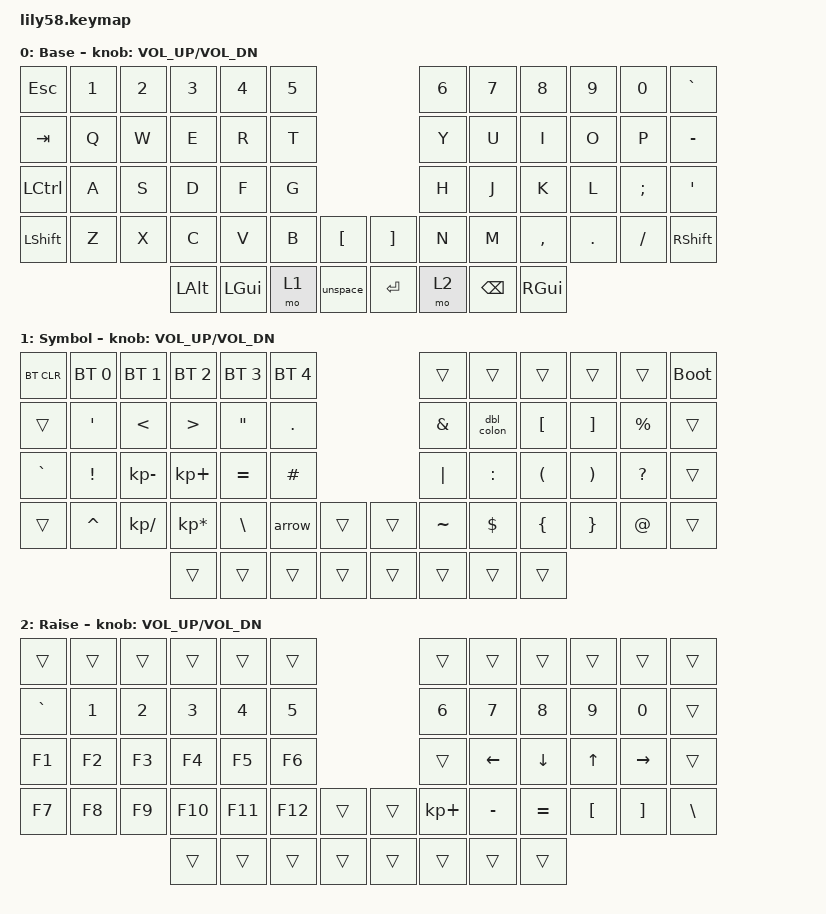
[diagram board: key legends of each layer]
/*
 * Copyright (c) 2020 The ZMK Contributors
 *
 * SPDX-License-Identifier: MIT
 */

#include <behaviors.dtsi>
#include <dt-bindings/zmk/keys.h>
#include <dt-bindings/zmk/bt.h>
#include <dt-bindings/zmk/ext_power.h>

/ {
    macros {
        dbl_colon: dbl_colon {
            compatible = "zmk,behavior-macro";
            #binding-cells = <0>;
            bindings
                = <&macro_tap &kp COLON &kp COLON>
                ;
        };
        arrow: arrow {
            compatible = "zmk,behavior-macro";
            #binding-cells = <0>;
            bindings
                = <&macro_tap &kp MINUS &kp GT>
                ;
        };
    };
};

/ {
    behaviors {
        unspace: underscore_space {
            compatible = "zmk,behavior-mod-morph";
            #binding-cells = <0>;
            bindings = <&kp SPACE>, <&kp UNDER>;
            mods = <(MOD_LSFT|MOD_RSFT)>;
        };
    };
};

/ {
    keymap {
        compatible = "zmk,keymap";

        default_layer {
// ------------------------------------------------------------------------------------------------------------
// |  ESC  |  1  |  2  |  3   |  4   |  5   |                   |  6   |  7    |  8    |  9   |   0   |   `   |
// |  TAB  |  Q  |  W  |  E   |  R   |  T   |                   |  Y   |  U    |  I    |  O   |   P   |   -   |
// |  CTRL |  A  |  S  |  D   |  F   |  G   |                   |  H   |  J    |  K    |  L   |   ;   |   '   |
// | SHIFT |  Z  |  X  |  C   |  V   |  B   |   "["  |  |  "]"  |  N   |  M    |  ,    |  .   |   /   | SHIFT |
//                     | ALT  | GUI  | LOWER|  " "/_ |  | ENTER | RAISE| BSPC  | GUI   |
            display-name = "Base";
            bindings = <
&kp ESC   &kp N1 &kp N2 &kp N3   &kp N4   &kp N5                     &kp N6 &kp N7   &kp N8    &kp N9  &kp N0   &kp GRAVE
&kp TAB   &kp Q  &kp W  &kp E    &kp R    &kp T                      &kp Y  &kp U    &kp I     &kp O   &kp P    &kp MINUS
&kp LCTRL &kp A  &kp S  &kp D    &kp F    &kp G                      &kp H  &kp J    &kp K     &kp L   &kp SEMI &kp SQT
&kp LSHFT &kp Z  &kp X  &kp C    &kp V    &kp B  &kp LBKT   &kp RBKT &kp N  &kp M    &kp COMMA &kp DOT &kp FSLH &kp RSHFT
                        &kp LALT &kp LGUI &mo 1  &unspace  &kp RET  &mo 2  &kp BSPC &kp RGUI
            >;

            sensor-bindings = <&inc_dec_kp C_VOL_UP C_VOL_DN>;
        };

        symbol_layer {
// ------------------------------------------------------------------------------------------------------------
// | BTCLR | BT1 | BT2 |  BT3 |  BT4 |  BT5 |                   |      |       |       |      |       |       |
// |       |  '  |  <  |  >   |  "   |  .   |                   |  &   |  ::   |  [   |   ]   |   %   |       |
// |   `   |  !  |  -  |  +   |  =   |  #   |                   | "|"  |  :    |  (    |  )   |   ?   |       |
// |       |  ^  |  /  |  *   |  \   |  ->  |        |  |       |  ~   |  $    |  {    |  }   |   @   |       |
//                     |      |      |      |        |  |       |      |       |       |
            display-name = "Symbol";
            bindings = <
&bt BT_CLR &bt BT_SEL 0     &bt BT_SEL 1      &bt BT_SEL 2      &bt BT_SEL 3 &bt BT_SEL 4                   &trans    &trans     &trans    &trans    &trans    &bootloader
&trans     &kp SQT          &kp LT            &kp GT            &kp DQT      &kp PERIOD                     &kp AMPS  &dbl_colon &kp LBKT  &kp RBKT  &kp PRCNT &trans
&kp GRAVE  &kp EXCL         &kp KP_MINUS      &kp KP_PLUS       &kp EQUAL    &kp HASH                       &kp PIPE  &kp COLON  &kp LPAR  &kp RPAR  &kp QMARK &trans
&trans     &kp CARET        &kp KP_SLASH      &kp KP_ASTERISK   &kp BSLH     &arrow      &trans   &trans    &kp TILDE &kp DLLR   &kp LBRC  &kp RBRC  &kp AT    &trans
                                              &trans            &trans       &trans      &trans   &trans    &trans    &trans     &trans
            >;

            sensor-bindings = <&inc_dec_kp C_VOL_UP C_VOL_DN>;
        };

        raise_layer {
// ------------------------------------------------------------------------------------------------------------
// |       |     |     |      |      |      |                   |      |       |       |      |       |       |
// |   `   |  1  |  2  |  3   |  4   |  5   |                   |  6   |   7   |   8   |  9   |   0   |       |
// |   F1  |  F2 |  F3 |  F4  |  F5  |  F6  |                   |      |   <-  |   v   |  ^   |  ->   |       |
// |   F7  |  F8 |  F9 |  F10 |  F11 |  F12 |        |  |       |  +   |   -   |   =   |  [   |   ]   |   \   |
//                     |      |      |      |        |  |       |      |       |       |
            display-name = "Raise";
            bindings = <
&trans    &trans &trans &trans  &trans  &trans                       &trans      &trans    &trans    &trans   &trans    &trans
&kp GRAVE &kp N1 &kp N2 &kp N3  &kp N4  &kp N5                       &kp N6      &kp N7    &kp N8    &kp N9   &kp N0    &trans
&kp F1    &kp F2 &kp F3 &kp F4  &kp F5  &kp F6                       &trans      &kp LEFT  &kp DOWN  &kp UP   &kp RIGHT &trans
&kp F7    &kp F8 &kp F9 &kp F10 &kp F11 &kp F12   &trans   &trans    &kp KP_PLUS &kp MINUS &kp EQUAL &kp LBKT &kp RBKT  &kp BSLH
                        &trans  &trans  &trans    &trans   &trans    &trans      &trans    &trans
            >;

            sensor-bindings = <&inc_dec_kp C_VOL_UP C_VOL_DN>;
        };

        extra_1 {
            status = "reserved";
        };

        extra_2 {
            status = "reserved";
        };

        extra_3 {
            status = "reserved";
        };
    };
};
